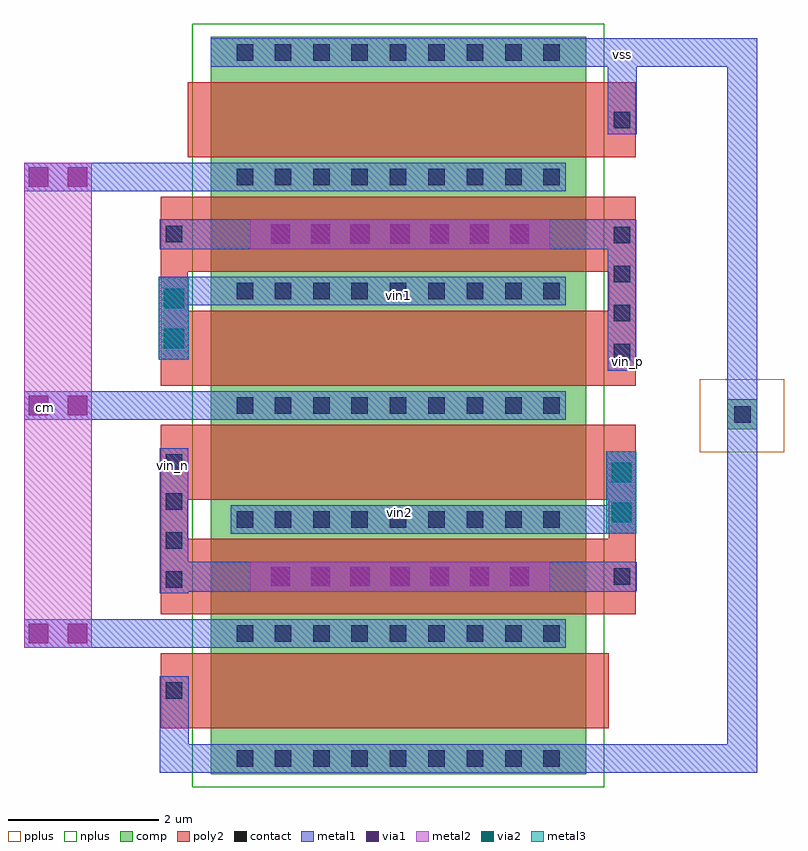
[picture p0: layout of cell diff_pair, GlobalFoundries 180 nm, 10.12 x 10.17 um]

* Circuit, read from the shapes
.subckt diff_pair cm vin1 vin2 vin_n vin_p vss
XM1 cm vss vss vss nfet_03v3 w=5u l=1u m=2
XM2 vin2 vin_n cm vss nfet_03v3 w=5u l=1u m=2
XM3 vin1 vin_p cm vss nfet_03v3 w=5u l=1u m=2
.ends

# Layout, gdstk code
import gdstk
lib = gdstk.Library(unit=1e-6, precision=5e-09)
def R(c, l, rs):  # rectangles x0, y0, x1, y1
    for r in rs: c.add(gdstk.rectangle(r[:2], r[2:], *l))
def A(c, l, x, y, w, h, nx, ny, dx, dy):  # array of equal rectangles
    R(c, l, [(x+i*dx, y+j*dy, x+i*dx+w, y+j*dy+h) for i in range(nx) for j in range(ny)])
comp = (22, 0)
poly2 = (30, 0)
pplus = (31, 0)
nplus = (32, 0)
contact = (33, 0)
metal1 = (34, 0)
via1 = (35, 0)
metal2 = (36, 0)
via2 = (38, 0)
metal3 = (42, 0)

via_dev = lib.new_cell('via_dev')
R(via_dev, comp, [(0,0,0.4,0.4)])
R(via_dev, contact, [(0.09,0.09,0.31,0.31)])
R(via_dev, metal1, [(0,0,0.4,0.4)])

diff_pair = lib.new_cell('diff_pair')
R(diff_pair, comp, [(8.89,-12.565,13.89,-12.145), (8.89,-12.145,13.89,-3.16), (8.89,-3.16,13.89,-2.74)])
A(diff_pair, poly2, 8.225, -11.95, 0.36, 1, 1, 3, 0, 3.04)
A(diff_pair, poly2, 8.585, -11.95, 5.605, 1, 1, 6, 0, 1.52)
R(diff_pair, poly2, [(8.225,-10.43,8.585,-7.91), (14.19,-10.43,14.55,-9.43), (14.19,-9.43,14.55,-7.91), (8.225,-7.39,8.585,-5.87), (14.19,-7.39,14.55,-4.87), (14.19,-4.35,14.55,-3.35)])
R(diff_pair, pplus, [(15.405,-8.275,16.525,-7.3)])
R(diff_pair, nplus, [(8.645,-12.735,14.13,-2.57)])
A(diff_pair, contact, 9.235, -12.465, 0.22, 0.22, 5, 2, 0.51, 1.665)
A(diff_pair, contact, 11.79, -12.465, 0.22, 0.22, 4, 2, 0.51, 1.665)
A(diff_pair, contact, 8.295, -10.08, 0.22, 0.22, 1, 4, 0, 0.52)
A(diff_pair, contact, 9.235, -9.28, 0.22, 0.22, 5, 4, 0.51, 1.52)
A(diff_pair, contact, 11.79, -9.28, 0.22, 0.22, 4, 4, 0.51, 1.52)
A(diff_pair, contact, 14.26, -7.05, 0.22, 0.22, 1, 4, 0, 0.52)
A(diff_pair, contact, 9.235, -3.06, 0.22, 0.22, 5, 1, 0.51, 0)
A(diff_pair, contact, 11.79, -3.06, 0.22, 0.22, 4, 1, 0.51, 0)
R(diff_pair, contact, [(8.295,-11.56,8.515,-11.34), (14.26,-10.04,14.48,-9.82), (8.295,-5.48,8.515,-5.26), (14.26,-3.96,14.48,-3.74)])
A(diff_pair, metal1, 6.405, -10.88, 4.5, 0.38, 1, 3, 0, 3.04)
A(diff_pair, metal1, 9.155, -10.88, 4.465, 0.38, 1, 3, 0, 3.04)
R(diff_pair, metal1, [(9.155,-12.545,16.17,-12.165), (15.77,-12.545,16.17,-2.76), (8.21,-12.54,9.155,-12.16), (8.21,-12.54,10.905,-12.16), (8.21,-12.16,8.6,-11.26), (8.215,-11.64,8.595,-11.26), (8.215,-10.15,8.595,-8.22), (8.255,-10.13,14.56,-9.73), (9.41,-10.13,13.41,-9.73), (14.175,-10.12,14.565,-9.74), (9.155,-9.36,14.56,-8.98), (14.16,-9.36,14.56,-8.26), (14.18,-7.19,14.56,-5.18), (8.2,-7.045,8.6,-5.945), (8.2,-6.32,13.62,-5.94), (8.21,-5.57,14.535,-5.17), (9.41,-5.57,13.41,-5.17), (8.215,-5.56,8.595,-5.18), (14.175,-4.04,14.565,-3.14), (14.18,-4.04,14.56,-3.66), (8.895,-3.14,10.905,-2.76), (9.155,-3.14,13.62,-2.76), (13.62,-3.14,16.17,-2.76)])
A(diff_pair, via1, 6.465, -10.82, 0.26, 0.26, 1, 3, 0, 3.04)
A(diff_pair, via1, 6.985, -10.82, 0.26, 0.26, 1, 3, 0, 3.04)
A(diff_pair, via1, 9.69, -10.06, 0.26, 0.26, 7, 2, 0.53, 4.56)
R(diff_pair, via1, [(14.23,-9.205,14.49,-8.945), (14.23,-8.675,14.49,-8.415), (8.27,-6.89,8.53,-6.63), (8.27,-6.36,8.53,-6.1)])
R(diff_pair, metal2, [(6.405,-10.88,7.305,-4.42), (9.41,-10.13,13.41,-9.73), (14.16,-9.36,14.56,-8.26), (8.2,-7.045,8.6,-5.945), (9.41,-5.57,13.41,-5.17)])
R(diff_pair, via2, [(14.23,-9.205,14.49,-8.945), (14.23,-8.675,14.49,-8.415), (8.27,-6.89,8.53,-6.63), (8.27,-6.36,8.53,-6.1)])
R(diff_pair, metal3, [(14.16,-9.36,14.56,-8.26), (8.2,-7.045,8.6,-5.945)])
diff_pair.add(gdstk.Reference(via_dev, (15.77,-7.97)))
diff_pair.add(gdstk.Label('vin_n', (8.385,-8.445), layer=34, texttype=10))
diff_pair.add(gdstk.Label('vin_p', (14.445,-7.065), layer=34, texttype=10))
diff_pair.add(gdstk.Label('vin2', (11.405,-9.08), layer=34, texttype=10))
diff_pair.add(gdstk.Label('vin1', (11.395,-6.185), layer=34, texttype=10))
diff_pair.add(gdstk.Label('cm', (6.685,-7.685), layer=34, texttype=10))
diff_pair.add(gdstk.Label('vss', (14.37,-2.975), layer=34, texttype=10))

lib.write_gds('diff_pair.gds')
